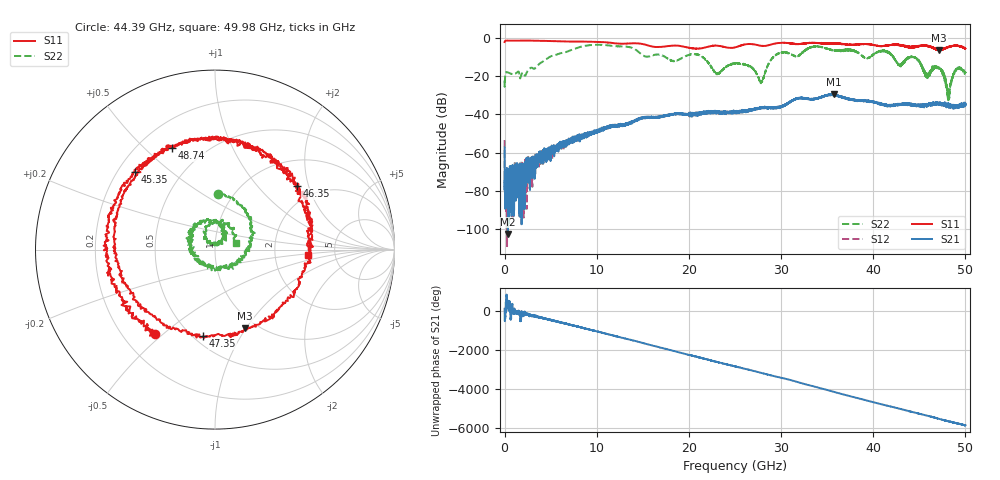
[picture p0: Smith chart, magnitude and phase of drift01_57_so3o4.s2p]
!Created with skrf (http://scikit-rf.org).
# Hz S RI R 50.0
!freq ReS11 ImS11 ReS21 ImS21 ReS12 ImS12 ReS22 ImS22
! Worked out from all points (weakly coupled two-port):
!   10001 points, 300 kHz to 50 GHz, reference 50 ohm
!   highest |S21| = -29.56 dB at 35.74 GHz (marker M1); lowest = -102.6 dB at 360.3 MHz (marker M2)
!   lowest |S11| = -6.6 dB at 47.15 GHz (marker M3), VSWR 2.76, Z = 44.1 - j49.4 ohm
!   |S11| at or under -10 dB: nowhere
!   |S22| runs from -32.6 to -3.6 dB; largest |S21 - S12| = 0.0045
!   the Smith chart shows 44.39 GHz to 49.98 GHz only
!   S11 on the Smith chart (normalised r, x): 44.39 GHz: 0.33, -0.47; 45.35 GHz: 0.27, +0.38; 46.35 GHz: 1.58, +1.68; 47.35 GHz: 0.56, -0.71; 48.74 GHz: 0.34, +0.61; 49.98 GHz: 3.12, -0.25
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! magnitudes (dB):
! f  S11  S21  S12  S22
! 300 kHz  -2.2  -57.4  -53.5  -22.3
! 360.3 MHz  -1.4  -102.6  -83.7  -18.1
! 8.335 GHz  -1.9  -51.0  -51.7  -4.6
! 16.67 GHz  -4.8  -41.5  -41.3  -8.7
! 20.98 GHz  -5.6  -39.3  -39.5  -8.8
! 23.09 GHz  -4.1  -38.7  -39.1  -18.8
! 25 GHz  -5.0  -38.6  -38.5  -13.5
! 27.85 GHz  -4.2  -36.4  -36.6  -23.2
! 29.44 GHz  -2.9  -36.8  -36.5  -8.9
! 33.34 GHz  -2.6  -32.2  -31.9  -4.7
! 35.74 GHz  -3.1  -29.6  -29.9  -6.5
! 41.67 GHz  -3.8  -35.5  -35.4  -7.7
! 42.85 GHz  -3.9  -34.9  -34.9  -14.4
! 44.39 GHz  -4.7  -35.0  -35.2  -10.2
! 45.35 GHz  -4.1  -35.6  -35.5  -15.4
! 46.35 GHz  -4.8  -34.4  -34.6  -16.6
! 47.15 GHz  -6.6  -34.6  -34.3  -15.6
! 47.35 GHz  -6.3  -34.0  -34.1  -17.0
! 48.13 GHz  -4.8  -35.6  -35.2  -30.8
! 48.74 GHz  -4.2  -35.8  -36.2  -18.6
! 49.98 GHz  -5.7  -33.9  -34.8  -18.3
! 50 GHz  -5.6  -34.5  -34.7  -18.3
